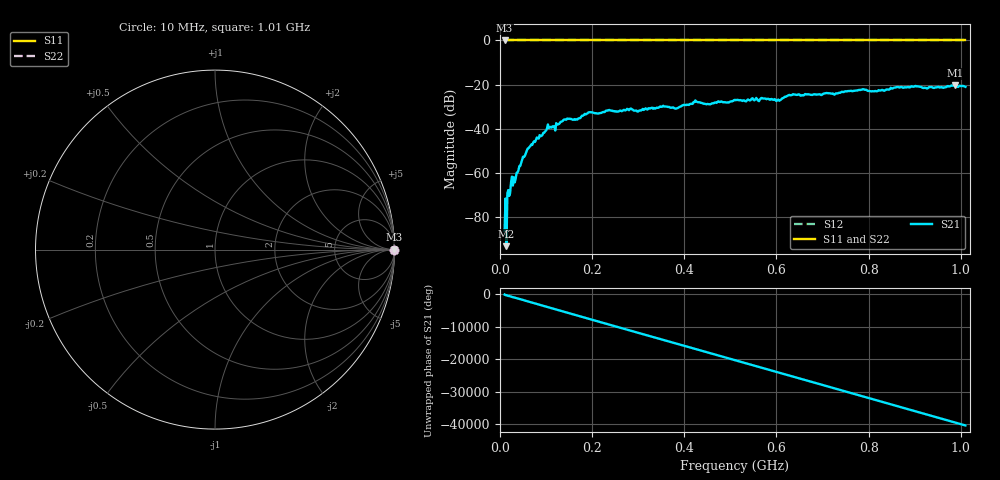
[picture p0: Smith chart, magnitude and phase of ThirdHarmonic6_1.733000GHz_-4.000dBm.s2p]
! 8/16/2025 8:52:33 PM
! C:\ANRITSUVNA\TEMP\TEMP.S2P
! CHANNEL.1
! TR.MEASUREMENT
! RAW.DATA
! RF.CORRECTION.OFF
! AVERAGING.OFF
! IF.BANDWIDTH: 5KHZ
! SWEEPTYPE:  FREQ.SWEEP(Linear)
! Reference Plane Port Info
! PORT:  PORT1  PORT2
! DISTANCE:  0  m  0  m
! TIME:  0  s  0  s
! PHASE.OFFSET:  0  deg.  0  deg.
! LOSS:  0  dB  0  dB
! REF.LOSS:  0  dB  0  dB
! REF.FREQ:  0  Hz  0  Hz
! Power Info
! POWER:  -20  dBm  -20  dBm
! EFF.POWER:  -20  dBm  -20  dBm
! SOURCE.ATTEN:  0  dB  0  dB
! TEST.ATTEN:  0  dB  0  dB
# GHZ S RI R 50.0
! FREQ.GHZ  S11RE  S11IM  S21RE  S21IM  S12RE  S12IM  S22RE  S22IM
!; PortSelection: Port_12
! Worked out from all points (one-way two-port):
!   501 points, 10 MHz to 1.01 GHz, reference 50 ohm
!   highest |S21| = -20.40 dB at 988 MHz (marker M1); lowest = -93.2 dB at 14 MHz (marker M2)
!   lowest |S11| = 0.0 dB at 10 MHz (marker M3)
!   |S11| at or under -10 dB: nowhere
!   |S22| runs from 0.0 to 0.0 dB; largest |S21 - S12| = 1.1
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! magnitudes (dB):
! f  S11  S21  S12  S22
! 10 MHz  0.0  -86.4  0.0  0.0
! 14 MHz  0.0  -93.2  0.0  0.0
! 20 MHz  0.0  -70.4  0.0  0.0
! 26 MHz  0.0  -61.7  0.0  0.0
! 64 MHz  0.0  -48.3  0.0  0.0
! 106 MHz  0.0  -39.7  0.0  0.0
! 116 MHz  0.0  -38.9  0.0  0.0
! 142 MHz  0.0  -35.8  0.0  0.0
! 178 MHz  0.0  -34.1  0.0  0.0
! 196 MHz  0.0  -32.5  0.0  0.0
! 302 MHz  0.0  -31.8  0.0  0.0
! 344 MHz  0.0  -30.5  0.0  0.0
! 382 MHz  0.0  -30.9  0.0  0.0
! 424 MHz  0.0  -27.2  0.0  0.0
! 452 MHz  0.0  -28.8  0.0  0.0
! 510 MHz  0.0  -26.9  0.0  0.0
! 604 MHz  0.0  -26.8  0.0  0.0
! 632 MHz  0.0  -24.8  0.0  0.0
! 678 MHz  0.0  -24.7  0.0  0.0
! 844 MHz  0.0  -22.3  0.0  0.0
! 988 MHz  0.0  -20.4  0.0  0.0
! 1.01 GHz  0.0  -21.0  0.0  0.0
